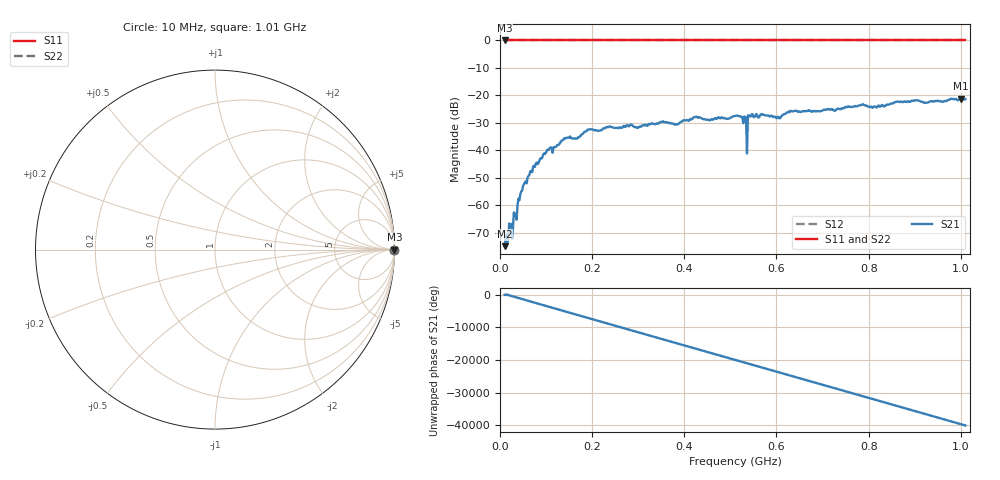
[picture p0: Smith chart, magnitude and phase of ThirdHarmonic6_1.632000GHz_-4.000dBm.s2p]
! 8/16/2025 7:30:20 PM
! C:\ANRITSUVNA\TEMP\TEMP.S2P
! CHANNEL.1
! TR.MEASUREMENT
! RAW.DATA
! RF.CORRECTION.OFF
! AVERAGING.OFF
! IF.BANDWIDTH: 5KHZ
! SWEEPTYPE:  FREQ.SWEEP(Linear)
! Reference Plane Port Info
! PORT:  PORT1  PORT2
! DISTANCE:  0  m  0  m
! TIME:  0  s  0  s
! PHASE.OFFSET:  0  deg.  0  deg.
! LOSS:  0  dB  0  dB
! REF.LOSS:  0  dB  0  dB
! REF.FREQ:  0  Hz  0  Hz
! Power Info
! POWER:  -20  dBm  -20  dBm
! EFF.POWER:  -20  dBm  -20  dBm
! SOURCE.ATTEN:  0  dB  0  dB
! TEST.ATTEN:  0  dB  0  dB
# GHZ S RI R 50.0
! FREQ.GHZ  S11RE  S11IM  S21RE  S21IM  S12RE  S12IM  S22RE  S22IM
!; PortSelection: Port_12
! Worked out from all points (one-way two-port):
!   501 points, 10 MHz to 1.01 GHz, reference 50 ohm
!   highest |S21| = -21.22 dB at 1 GHz (marker M1); lowest = -74.8 dB at 10 MHz (marker M2)
!   lowest |S11| = 0.0 dB at 10 MHz (marker M3)
!   |S11| at or under -10 dB: nowhere
!   |S22| runs from 0.0 to 0.0 dB; largest |S21 - S12| = 1.1
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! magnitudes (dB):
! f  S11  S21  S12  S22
! 10 MHz  0.0  -74.8  0.0  0.0
! 30 MHz  0.0  -62.5  0.0  0.0
! 50 MHz  0.0  -53.0  0.0  0.0
! 76 MHz  0.0  -46.0  0.0  0.0
! 106 MHz  0.0  -39.8  0.0  0.0
! 136 MHz  0.0  -36.2  0.0  0.0
! 178 MHz  0.0  -34.1  0.0  0.0
! 194 MHz  0.0  -32.4  0.0  0.0
! 344 MHz  0.0  -30.3  0.0  0.0
! 382 MHz  0.0  -30.5  0.0  0.0
! 510 MHz  0.0  -27.5  0.0  0.0
! 530 MHz  0.0  -27.7  0.0  0.0
! 532 MHz  0.0  -27.9  0.0  0.0
! 540 MHz  0.0  -27.2  0.0  0.0
! 542 MHz  0.0  -27.7  0.0  0.0
! 544 MHz  0.0  -27.6  0.0  0.0
! 604 MHz  0.0  -27.8  0.0  0.0
! 630 MHz  0.0  -25.6  0.0  0.0
! 678 MHz  0.0  -25.6  0.0  0.0
! 844 MHz  0.0  -23.3  0.0  0.0
! 1 GHz  0.0  -21.2  0.0  0.0
! 1.01 GHz  0.0  -21.4  0.0  0.0
